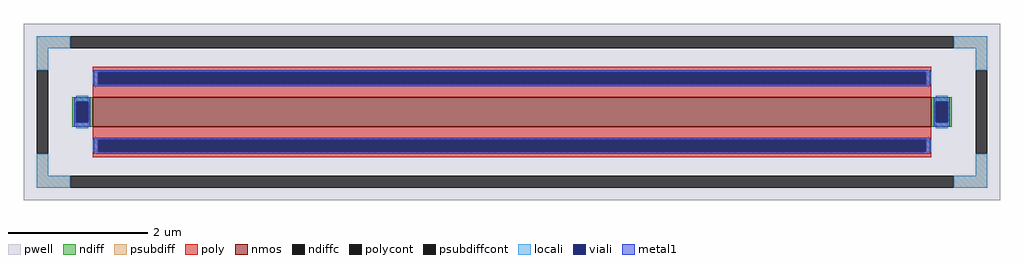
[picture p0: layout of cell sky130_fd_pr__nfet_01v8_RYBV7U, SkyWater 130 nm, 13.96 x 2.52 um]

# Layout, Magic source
magic
tech sky130A
<< pwell >>
rect -698 -126 698 126
<< nmos >>
rect -600 -21 600 21
<< ndiff >>
rect -629 15 -600 21
rect -629 -15 -623 15
rect -606 -15 -600 15
rect -629 -21 -600 -15
rect 600 15 629 21
rect 600 -15 606 15
rect 623 -15 629 15
rect 600 -21 629 -15
<< ndiffc >>
rect -623 -15 -606 15
rect 606 -15 623 15
<< psubdiff >>
rect -680 91 -632 108
rect 632 91 680 108
rect -680 60 -663 91
rect 663 60 680 91
rect -680 -91 -663 -60
rect 663 -91 680 -60
rect -680 -108 -632 -91
rect 632 -108 680 -91
<< psubdiffcont >>
rect -632 91 632 108
rect -680 -60 -663 60
rect 663 -60 680 60
rect -632 -108 632 -91
<< poly >>
rect -600 57 600 65
rect -600 40 -592 57
rect 592 40 600 57
rect -600 21 600 40
rect -600 -40 600 -21
rect -600 -57 -592 -40
rect 592 -57 600 -40
rect -600 -65 600 -57
<< polycont >>
rect -592 40 592 57
rect -592 -57 592 -40
<< locali >>
rect -680 91 -632 108
rect 632 91 680 108
rect -680 60 -663 91
rect 663 60 680 91
rect -600 40 -592 57
rect 592 40 600 57
rect -623 15 -606 23
rect -623 -23 -606 -15
rect 606 15 623 23
rect 606 -23 623 -15
rect -600 -57 -592 -40
rect 592 -57 600 -40
rect -680 -91 -663 -60
rect 663 -91 680 -60
rect -680 -108 -632 -91
rect 632 -108 680 -91
<< viali >>
rect -592 40 592 57
rect -623 -15 -606 15
rect 606 -15 623 15
rect -592 -57 592 -40
<< metal1 >>
rect -598 57 598 60
rect -598 40 -592 57
rect 592 40 598 57
rect -598 37 598 40
rect -626 15 -603 21
rect -626 -15 -623 15
rect -606 -15 -603 15
rect -626 -21 -603 -15
rect 603 15 626 21
rect 603 -15 606 15
rect 623 -15 626 15
rect 603 -21 626 -15
rect -598 -40 598 -37
rect -598 -57 -592 -40
rect 592 -57 598 -40
rect -598 -60 598 -57
<< properties >>
string FIXED_BBOX -671 -99 671 99
string gencell sky130_fd_pr__nfet_01v8
string library sky130
string parameters w 0.42 l 12.0 m 1 nf 1 diffcov 100 polycov 100 guard 1 glc 1 grc 1 gtc 1 gbc 1 tbcov 100 rlcov 100 topc 1 botc 1 poverlap 0 doverlap 1 lmin 0.15 wmin 0.42 compatible {sky130_fd_pr__nfet_01v8 sky130_fd_pr__nfet_01v8_lvt  sky130_fd_bs_flash__special_sonosfet_star  sky130_fd_pr__nfet_g5v0d10v5 sky130_fd_pr__nfet_05v0_nvt  sky130_fd_pr__nfet_03v3_nvt} full_metal 1 viasrc 100 viadrn 100 viagate 100 viagb 0 viagr 0 viagl 0 viagt 0
<< end >>
